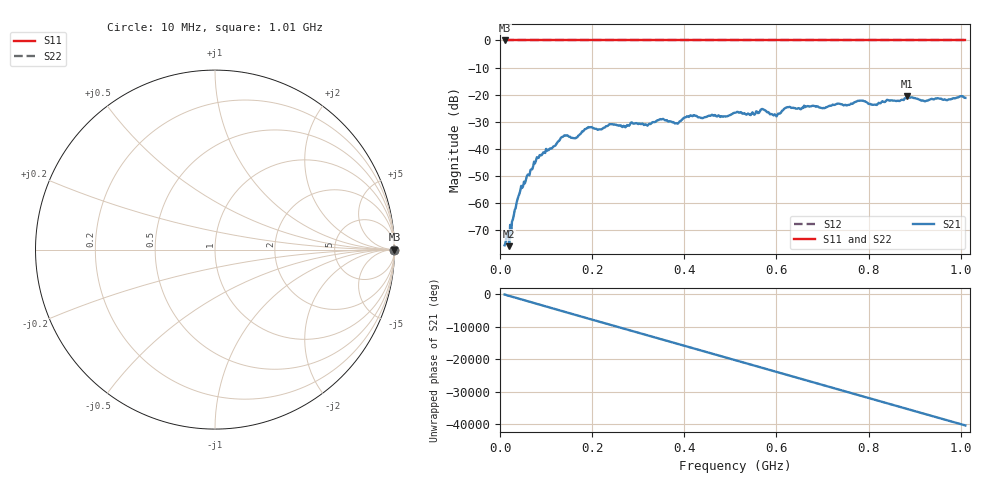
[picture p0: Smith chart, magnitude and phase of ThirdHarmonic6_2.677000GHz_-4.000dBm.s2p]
! 8/17/2025 6:15:57 AM
! C:\ANRITSUVNA\TEMP\TEMP.S2P
! CHANNEL.1
! TR.MEASUREMENT
! RAW.DATA
! RF.CORRECTION.OFF
! AVERAGING.OFF
! IF.BANDWIDTH: 5KHZ
! SWEEPTYPE:  FREQ.SWEEP(Linear)
! Reference Plane Port Info
! PORT:  PORT1  PORT2
! DISTANCE:  0  m  0  m
! TIME:  0  s  0  s
! PHASE.OFFSET:  0  deg.  0  deg.
! LOSS:  0  dB  0  dB
! REF.LOSS:  0  dB  0  dB
! REF.FREQ:  0  Hz  0  Hz
! Power Info
! POWER:  -20  dBm  -20  dBm
! EFF.POWER:  -20  dBm  -20  dBm
! SOURCE.ATTEN:  0  dB  0  dB
! TEST.ATTEN:  0  dB  0  dB
# GHZ S RI R 50.0
! FREQ.GHZ  S11RE  S11IM  S21RE  S21IM  S12RE  S12IM  S22RE  S22IM
!; PortSelection: Port_12
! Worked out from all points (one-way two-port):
!   501 points, 10 MHz to 1.01 GHz, reference 50 ohm
!   highest |S21| = -20.47 dB at 884 MHz (marker M1); lowest = -75.9 dB at 20 MHz (marker M2)
!   lowest |S11| = 0.0 dB at 10 MHz (marker M3)
!   |S11| at or under -10 dB: nowhere
!   |S22| runs from 0.0 to 0.0 dB; largest |S21 - S12| = 1.1
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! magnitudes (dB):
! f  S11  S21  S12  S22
! 10 MHz  0.0  -75.5  0.0  0.0
! 20 MHz  0.0  -75.9  0.0  0.0
! 42 MHz  0.0  -56.6  0.0  0.0
! 78 MHz  0.0  -44.3  0.0  0.0
! 136 MHz  0.0  -35.6  0.0  0.0
! 164 MHz  0.0  -36.1  0.0  0.0
! 178 MHz  0.0  -33.5  0.0  0.0
! 194 MHz  0.0  -32.1  0.0  0.0
! 318 MHz  0.0  -31.2  0.0  0.0
! 344 MHz  0.0  -29.4  0.0  0.0
! 384 MHz  0.0  -30.6  0.0  0.0
! 410 MHz  0.0  -28.2  0.0  0.0
! 510 MHz  0.0  -26.7  0.0  0.0
! 570 MHz  0.0  -25.3  0.0  0.0
! 598 MHz  0.0  -27.5  0.0  0.0
! 624 MHz  0.0  -24.6  0.0  0.0
! 678 MHz  0.0  -24.1  0.0  0.0
! 814 MHz  0.0  -23.6  0.0  0.0
! 844 MHz  0.0  -22.1  0.0  0.0
! 884 MHz  0.0  -20.5  0.0  0.0
! 924 MHz  0.0  -22.3  0.0  0.0
! 1.01 GHz  0.0  -21.2  0.0  0.0
